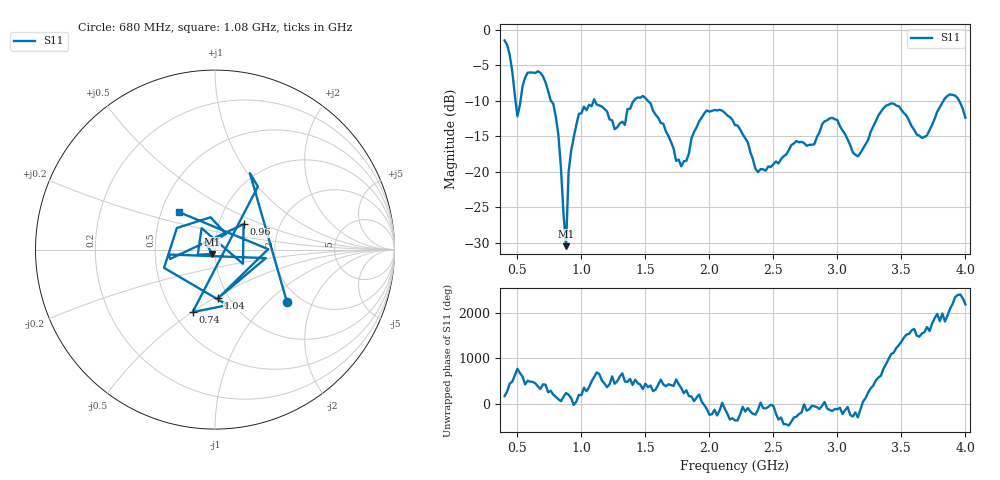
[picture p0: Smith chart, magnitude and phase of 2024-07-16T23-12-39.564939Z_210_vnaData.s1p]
!Created with skrf (http://scikit-rf.org).
# Hz S RI R 50.0
!freq ReS11 ImS11
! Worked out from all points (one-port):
!   181 points, 400 MHz to 4 GHz, reference 50 ohm
!   lowest |S11| = -30.5 dB at 880 MHz (marker M1), VSWR 1.06, Z = 48.2 - j2.34 ohm
!   |S11| at or under -10 dB: 761.6 MHz to 1.096 GHz (334.3 MHz wide, 36 % of centre); 1.105 GHz to 1.41 GHz (305.1 MHz wide, 24.3 % of centre); 1.518 GHz to 3.829 GHz (2.311 GHz wide, 86.4 % of centre) (the widest 3 of 5)
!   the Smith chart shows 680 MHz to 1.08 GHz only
!   S11 on the Smith chart (normalised r, x): 680 MHz: 1.69, -1.32; 740 MHz: 0.62, -0.50; 960 MHz: 1.31, +0.39; 1.04 GHz: 0.89, -0.52; 1.08 GHz: 0.62, +0.28
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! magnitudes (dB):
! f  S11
! 400 MHz  -1.5
! 440 MHz  -3.6
! 500 MHz  -12.2
! 580 MHz  -6.1
! 680 MHz  -6.1
! 740 MHz  -8.6
! 820 MHz  -14.8
! 860 MHz  -25.9
! 880 MHz  -30.5
! 900 MHz  -20.0
! 960 MHz  -13.4
! 1.04 GHz  -11.3
! 1.08 GHz  -10.8
! 1.3 GHz  -13.2
! 1.48 GHz  -9.3
! 1.76 GHz  -18.3
! 1.98 GHz  -11.4
! 2.2 GHz  -13.4
! 2.38 GHz  -20.0
! 2.66 GHz  -16.0
! 2.96 GHz  -12.4
! 3.1 GHz  -16.2
! 3.16 GHz  -17.8
! 3.42 GHz  -10.4
! 3.56 GHz  -12.8
! 3.7 GHz  -14.9
! 3.88 GHz  -9.1
! 4 GHz  -12.4
